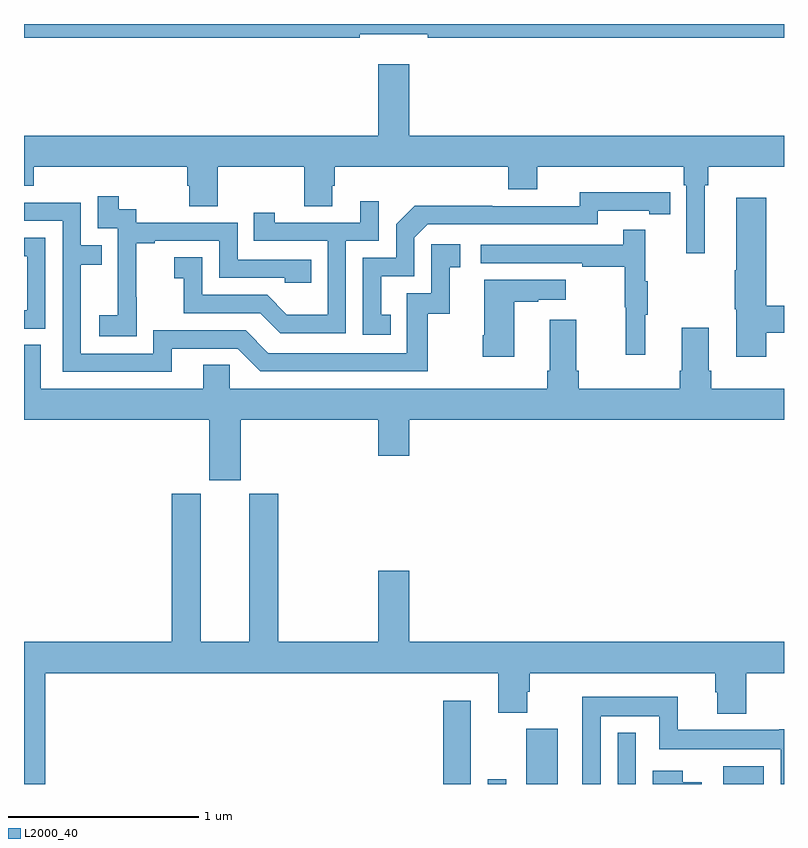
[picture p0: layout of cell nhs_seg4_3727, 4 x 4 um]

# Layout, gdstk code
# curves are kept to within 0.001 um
import gdstk
lib = gdstk.Library(unit=1e-6, precision=1e-09)
def R(c, l, rs):  # rectangles x0, y0, x1, y1
    for r in rs: c.add(gdstk.rectangle(r[:2], r[2:], *l))
def P(c, l, *ps):  # polygons
    for p in ps: c.add(gdstk.Polygon(p, *l))
L2000_40 = (2000, 40)

nhs_seg4_3727 = lib.new_cell('nhs_seg4_3727')
R(nhs_seg4_3727, L2000_40, [(309.441,798.9,309.537,798.925), (309.644,798.9,309.808,799.191), (310.125,798.9,310.221,799.171), (310.679,798.9,310.894,798.994)])
P(nhs_seg4_3727, L2000_40, [(308.768,802.847),(309.124,802.847),(309.124,802.828),(311,802.828),(311,802.9),(307,802.9),(307,802.828),(308.768,802.828)],
  [(310.582,802.052),(310.601,802.052),(310.601,802.148),(311,802.148),(311,802.312),(309.028,802.312),(309.028,802.687),(308.864,802.687),(308.864,802.312),(307,802.312),(307,802.049),(307.052,802.049),(307.052,802.148),(307.859,802.148),(307.859,802.05),(307.871,802.05),(307.871,801.94),(308.019,801.94),(308.019,802.148),(308.476,802.148),(308.476,801.94),(308.623,801.94),(308.623,802.05),(308.636,802.05),(308.636,802.148),(309.548,802.148),(309.548,802.031),(309.7,802.031),(309.7,802.148),(310.472,802.148),(310.472,802.052),(310.485,802.052),(310.485,801.693),(310.582,801.693)],
  [(308.93,801.369),(308.881,801.369),(308.881,801.573),(309.054,801.573),(309.054,801.774),(309.126,801.846),(310.02,801.846),(310.02,801.918),(310.292,801.918),(310.292,801.898),(310.4,801.898),(310.4,802.014),(309.924,802.015),(309.924,801.942),(309.464,801.942),(309.464,801.944),(309.056,801.944),(308.958,801.846),(308.958,801.669),(308.784,801.669),(308.784,801.264),(308.93,801.264)],
  [(307.593,801.463),(307.592,801.463),(307.592,801.747),(307.687,801.747),(307.687,801.759),(308.028,801.759),(308.028,801.564),(308.373,801.564),(308.373,801.537),(308.513,801.537),(308.513,801.66),(308.124,801.66),(308.124,801.855),(307.59,801.855),(307.59,801.924),(307.498,801.924),(307.498,801.994),(307.389,801.994),(307.389,801.825),(307.494,801.825),(307.494,801.596),(307.493,801.596),(307.493,801.367),(307.395,801.367),(307.395,801.257),(307.593,801.257)],
  [(310.907,801.274),(311,801.274),(311,801.416),(310.907,801.416),(310.907,801.985),(310.748,801.985),(310.748,801.605),(310.741,801.605),(310.741,801.399),(310.748,801.399),(310.748,801.15),(310.907,801.15)],
  [(308.694,801.759),(308.868,801.759),(308.868,801.967),(308.771,801.967),(308.771,801.855),(308.32,801.855),(308.32,801.907),(308.209,801.907),(308.209,801.759),(308.598,801.759),(308.598,801.37),(308.384,801.37),(308.28,801.474),(307.938,801.474),(307.938,801.673),(307.791,801.673),(307.791,801.563),(307.84,801.563),(307.84,801.378),(308.243,801.378),(308.348,801.273),(308.694,801.273)],
  [(307.777,801.192),(308.124,801.192),(308.244,801.072),(309.124,801.072),(309.124,801.375),(309.242,801.375),(309.242,801.621),(309.295,801.621),(309.295,801.742),(309.144,801.742),(309.144,801.483),(309.015,801.483),(309.015,801.168),(308.286,801.168),(308.166,801.288),(307.68,801.288),(307.68,801.165),(307.299,801.165),(307.299,801.634),(307.409,801.634),(307.409,801.735),(307.299,801.735),(307.299,801.96),(307,801.96),(307,801.864),(307.203,801.864),(307.203,801.069),(307.777,801.069)],
  [(310.271,801.371),(310.282,801.371),(310.282,801.545),(310.271,801.545),(310.271,801.817),(310.153,801.817),(310.153,801.738),(309.405,801.738),(309.405,801.642),(309.937,801.642),(309.937,801.622),(310.161,801.622),(310.161,801.408),(310.168,801.408),(310.168,801.159),(310.271,801.159)],
  [(307.113,801.774),(307,801.774),(307,801.678),(307.017,801.678),(307.017,801.393),(307,801.393),(307,801.297),(307.113,801.297)],
  [(309.58,801.439),(309.707,801.439),(309.707,801.449),(309.85,801.449),(309.85,801.553),(309.422,801.553),(309.422,801.262),(309.415,801.262),(309.415,801.15),(309.58,801.15)],
  [(308.14,800.816),(308.864,800.816),(308.864,800.628),(309.028,800.628),(309.028,800.816),(311,800.816),(311,800.98),(310.616,800.98),(310.616,801.076),(310.603,801.076),(310.603,801.301),(310.463,801.301),(310.463,801.076),(310.451,801.076),(310.451,800.98),(309.92,800.98),(309.92,801.076),(309.907,801.076),(309.907,801.343),(309.767,801.343),(309.767,801.076),(309.755,801.076),(309.755,800.98),(308.082,800.98),(308.082,801.107),(307.943,801.107),(307.943,800.98),(307.087,800.98),(307.087,801.212),(307,801.212),(307,800.816),(307.976,800.816),(307.976,800.499),(308.14,800.499)],
  [(309.028,800.023),(308.864,800.023),(308.864,799.648),(308.339,799.648),(308.339,800.427),(308.186,800.427),(308.186,799.648),(307.93,799.648),(307.93,800.427),(307.778,800.427),(307.778,799.648),(307,799.648),(307,798.9),(307.112,798.9),(307.112,799.484),(309.497,799.484),(309.497,799.276),(309.649,799.276),(309.649,799.385),(309.662,799.385),(309.662,799.484),(310.637,799.484),(310.637,799.383),(310.649,799.383),(310.649,799.271),(310.802,799.271),(310.802,799.484),(311,799.484),(311,799.648),(309.028,799.648)],
  [(310.035,799.256),(310.344,799.256),(310.344,799.082),(310.983,799.082),(310.983,798.9),(311,798.9),(311,799.189),(310.976,799.189),(310.976,799.186),(310.442,799.186),(310.442,799.36),(309.938,799.36),(309.938,798.9),(310.035,798.9)],
  [(309.351,798.925),(309.352,798.925),(309.352,799.339),(309.206,799.339),(309.206,798.9),(309.351,798.9)],
  [(310.567,798.91),(310.468,798.91),(310.468,798.97),(310.31,798.97),(310.31,798.9),(310.567,798.9)])

lib.write_gds('nhs_seg4_3727.gds')
